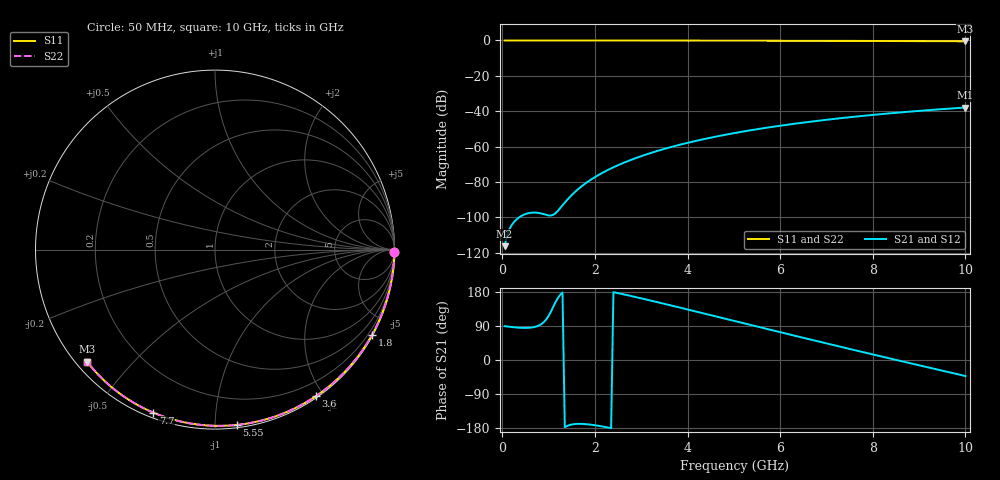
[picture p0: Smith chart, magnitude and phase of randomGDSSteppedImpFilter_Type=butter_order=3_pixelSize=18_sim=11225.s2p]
! freq	dB(S11)	phase(S11)	dB(S12)	phase(S12)
!  dB(S21)	phase(S21)	dB(S22)	phase(S22)
!S-par simulation data
#  GHz  S  DB  R 50
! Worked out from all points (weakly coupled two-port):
!   200 points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, 50 MHz to 10 GHz, reference 50 ohm
!   highest |S21| = -37.91 dB at 10 GHz (marker M1); lowest = -116.3 dB at 50 MHz (marker M2)
!   lowest |S11| = -0.5 dB at 10 GHz (marker M3), VSWR 37.07, Z = 1.54 - j18.8 ohm
!   |S11| at or under -10 dB: nowhere
!   |S22| runs from -0.5 to 0.0 dB; largest |S21 - S12| = 0
!   S11 on the Smith chart (normalised r, x): 50 MHz: open; 1.8 GHz: 0.03, -3.94; 3.6 GHz: 0.02, -1.90; 5.55 GHz: 0.02, -1.13; 7.7 GHz: 0.02, -0.69; 10 GHz: 0.03, -0.38
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0.05  -0.00 -0.8  -116.31 89.2  -116.31 89.2  -0.00 -0.8
0.45  -0.01 -7.2  -98.70 84.7  -98.70 84.7  -0.01 -7.2
0.9  -0.02 -14.4  -98.25 100.4  -98.25 100.4  -0.02 -14.4
1.75  -0.04 -27.7  -81.69 -168.8  -81.69 -168.8  -0.04 -27.7
1.8  -0.04 -28.5  -80.72 -169.2  -80.72 -169.2  -0.04 -28.5
1.85  -0.04 -29.2  -79.80 -169.8  -79.80 -169.8  -0.04 -29.2
2  -0.04 -31.5  -77.26 -172.1  -77.26 -172.1  -0.04 -31.5
2.15  -0.04 -33.8  -75.00 -175.1  -75.00 -175.1  -0.04 -33.8
2.35  -0.05 -36.9  -72.32 -179.8  -72.32 -179.8  -0.05 -36.9
2.55  -0.05 -39.9  -69.94 175.1  -69.94 175.1  -0.05 -39.9
2.95  -0.06 -46.0  -65.87 164.2  -65.87 164.2  -0.06 -46.0
3.4  -0.07 -52.6  -62.06 151.2  -62.06 151.2  -0.07 -52.6
3.6  -0.07 -55.6  -60.57 145.3  -60.57 145.3  -0.07 -55.6
4.3  -0.09 -65.6  -56.08 124.4  -56.08 124.4  -0.09 -65.6
5.05  -0.12 -76.1  -52.18 101.8  -52.18 101.8  -0.12 -76.1
5.55  -0.14 -82.9  -49.98 86.8  -49.98 86.8  -0.14 -82.9
6.1  -0.16 -90.2  -47.84 70.4  -47.84 70.4  -0.16 -90.2
6.7  -0.19 -98.0  -45.78 52.6  -45.78 52.6  -0.19 -98.0
7.7  -0.25 -110.7  -42.86 23.4  -42.86 23.4  -0.25 -110.7
8.35  -0.30 -118.7  -41.25 4.6  -41.25 4.6  -0.30 -118.7
9.2  -0.38 -129.1  -39.40 -19.7  -39.40 -19.7  -0.38 -129.1
10  -0.47 -138.8  -37.91 -42.3  -37.91 -42.3  -0.47 -138.8
